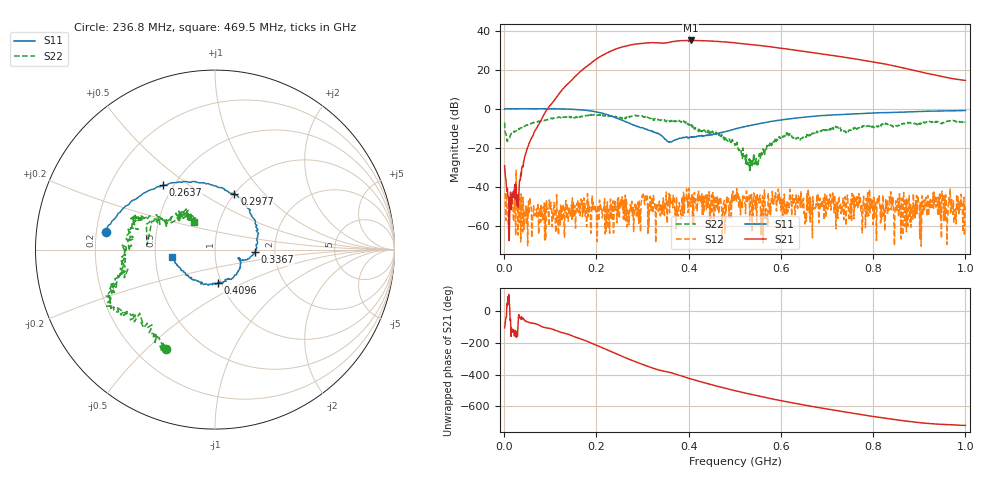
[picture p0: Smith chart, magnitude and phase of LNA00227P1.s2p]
! Created with skrf 1.9.0 (http://scikit-rf.org).
# Hz S RI R 50.0
!freq ReS11 ImS11 ReS21 ImS21 ReS12 ImS12 ReS22 ImS22
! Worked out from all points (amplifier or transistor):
!   1001 points, 1 MHz to 1 GHz, reference 50 ohm
!   highest |S21| = 35.0 dB at 404.6 MHz (marker M1)
!   |S21| within 3 dB of that: 262.4 MHz to 568.4 MHz (305.9 MHz wide, 73.6 % of centre)
!   unconditionally stable (mu >= 1): start of sweep to 97.9 MHz; 209 MHz to 229.9 MHz; 230.9 MHz to end of sweep (the widest 3 of 25)
!   at 166.8 MHz: K = 0.32, MSG = 32.8 dB, |S12| = -46.3 dB
!   at 500.5 MHz: K = 1.64, MAG = 34.5 dB, |S12| = -44.5 dB
!   at 1 GHz: K = 4.88, MAG = 22.5 dB, |S12| = -50.1 dB
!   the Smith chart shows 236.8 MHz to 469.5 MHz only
!   S11 on the Smith chart (normalised r, x): 236.8 MHz: 0.24, +0.08; 263.7 MHz: 0.44, +0.40; 297.7 MHz: 1.00, +0.69; 336.7 MHz: 1.57, -0.05; 409.6 MHz: 0.96, -0.37; 469.5 MHz: 0.61, -0.05
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1000000  0.9733 0.00401  -0.00835 -0.0333  -0.00654 -0.000188  0.3197 0.3039
1.08892e8  0.501 -0.8531  -0.7577 -1.47  -0.00145 -0.00339  0.4321 -0.3602
1.67833e8  -0.2681 -0.8897  -9.553 -0.6611  0.00306 0.00214  0.0481 -0.6444
2.07793e8  -0.686 -0.3898  -15.56 14.78  -0.00261 0.000165  -0.1676 -0.6785
2.36764e8  -0.6099 0.1006  -5.094 31.66  0.000439 -0.000474  -0.2742 -0.5543
2.63737e8  -0.2884 0.3585  16.65 36.53  0.0011 -0.000729  -0.4493 -0.402
2.97703e8  0.1083 0.3091  42.08 20.96  -0.00192 0.00381  -0.5757 -0.2741
3.17683e8  0.2248 0.1526  48.63 4.788  -0.00313 0.00289  -0.5421 -0.1443
3.34666e8  0.2284 -0.00201  47.93 -8.662  -6.21e-05 0.00228  -0.5151 -0.0638
3.36664e8  0.2223 -0.0139  47.6 -10.15  -0.00314 0.00285  -0.5067 -0.0475
3.71629e8  0.1415 -0.0708  43.31 -32.27  0.0023 0.000945  -0.4399 0.1633
4.04596e8  0.0534 -0.1764  21.92 -51.75  -0.00215 0.00225  -0.3394 0.1704
4.09591e8  0.0155 -0.185  18.12 -52.97  0.00572 0.00135  -0.3076 0.1374
4.39561e8  -0.1298 -0.1656  -5.491 -54.47  0.00101 0.00619  -0.171 0.1728
4.69531e8  -0.2373 -0.0421  -25.23 -45.76  0.00488 -0.000707  -0.1155 0.1562
5.005e8  -0.2761 0.1253  -38.39 -30.56  0.00102 0.00588  -0.0665 0.0939
5.4046e8  -0.195 0.3327  -42.47 -8.872  0.00529 0.000494  -0.051 0.027
5.88412e8  0.0155 0.489  -35.23 11.53  0.00267 -0.00648  -0.1395 -0.1004
6.67333e8  0.3939 0.4928  -13.25 23.98  0.000572 -0.003  -0.2222 -0.07
7.53247e8  0.671 0.2819  4.299 18.98  -0.000296 -0.00124  -0.2806 -0.00472
8.34166e8  0.7955 0.0217  10.06 8.755  -0.00125 -0.00215  -0.3922 -0.00341
1e9  0.7288 -0.521  5.309 -0.1184  0.00308 -0.000507  -0.302 0.3344
